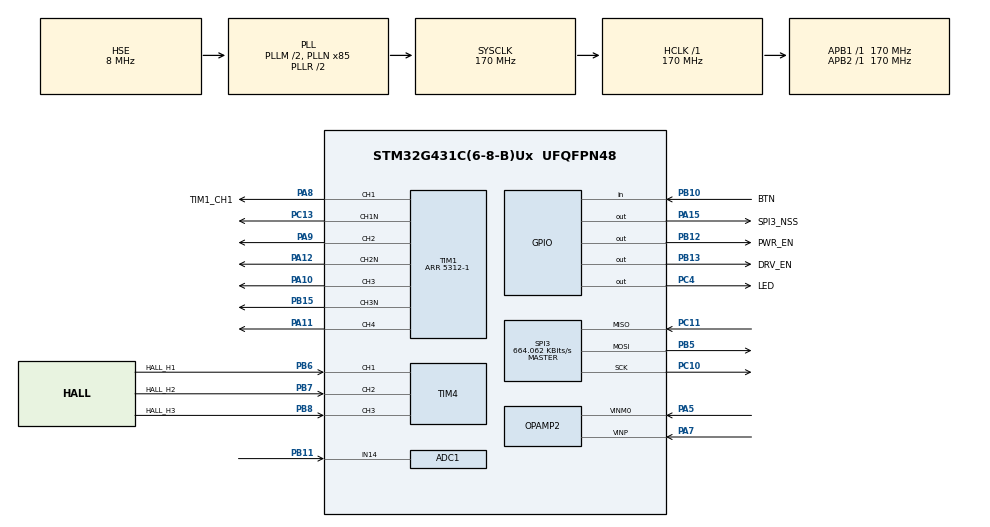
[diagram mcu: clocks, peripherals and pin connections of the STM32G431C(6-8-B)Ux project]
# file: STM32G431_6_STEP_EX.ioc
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ADC1.Channel-0\#ChannelRegularConversion=ADC_CHANNEL_14
ADC1.ContinuousConvMode=DISABLE
ADC1.EOCSelection=ADC_EOC_SEQ_CONV
ADC1.NbrOfConversion=1
ADC1.NbrOfConversionFlag=1
ADC1.OffsetNumber-0\#ChannelRegularConversion=ADC_OFFSET_NONE
ADC1.OversamplingMode=ENABLE
ADC1.Rank-0\#ChannelRegularConversion=1
ADC1.Ratio=ADC_OVERSAMPLING_RATIO_16
ADC1.RightBitShift=ADC_RIGHTBITSHIFT_4
ADC1.SamplingTime-0\#ChannelRegularConversion=ADC_SAMPLETIME_47CYCLES_5
ADC1.master=1
ADC2.EOCSelection=ADC_EOC_SEQ_CONV
ADC2.EnableInjectedConversion=ENABLE
ADC2.EnableRegularConversion=DISABLE
ADC2.ExternalTrigInjecConv=ADC_EXTERNALTRIGINJEC_T1_CC4
ADC2.InjNumberOfConversion=1
ADC2.InjectedChannel-9\#ChannelInjectedConversion=ADC_CHANNEL_VOPAMP2
ADC2.InjectedOffsetNumber-9\#ChannelInjectedConversion=ADC_OFFSET_NONE
ADC2.InjectedRank-9\#ChannelInjectedConversion=1
ADC2.InjectedSamplingTime-9\#ChannelInjectedConversion=ADC_SAMPLETIME_2CYCLES_5
ADC2.OversamplingMode=DISABLE
ADC2.Rank1_Channel=ADC_CHANNEL_VOPAMP2
Mcu.Family=STM32G4
Mcu.Name=STM32G431C(6-8-B)Ux
Mcu.Package=UFQFPN48
NVIC.PriorityGroup=NVIC_PRIORITYGROUP_4
NVIC.TIM1_BRK_TIM15_IRQn=true\:0\:0\:true\:false\:true\:true\:true\:true
NVIC.TIM1_CC_IRQn=true\:0\:0\:true\:false\:true\:true\:true\:true
NVIC.TIM4_IRQn=true\:1\:0\:true\:false\:true\:true\:true\:true
NVIC.TIM7_IRQn=true\:2\:0\:true\:false\:true\:true\:true\:true
OPAMP2.PgaGain=OPAMP_PGA_GAIN_8_OR_MINUS_7
PA10.GPIO_PuPd=GPIO_PULLDOWN
PA10.Signal=S_TIM1_CH3
PA11.Signal=S_TIM1_CH4
PA12.GPIO_PuPd=GPIO_PULLDOWN
PA12.Mode=PWM Generation2 CH2 CH2N
PA12.Signal=TIM1_CH2N
PA13.Mode=Serial_Wire
PA13.Signal=SYS_JTMS-SWDIO
PA14.Mode=Serial_Wire
PA14.Signal=SYS_JTCK-SWCLK
PA15.GPIO_Label=SPI3_NSS
PA15.Signal=GPIO_Output
PA5.Mode=PGA Internally connected_IO0_BIAS
PA5.Signal=OPAMP2_VINM0
PA7.Signal=SharedAnalog_PA7
PA8.GPIO_Label=TIM1_CH1
PA8.GPIO_PuPd=GPIO_PULLDOWN
PA8.Signal=S_TIM1_CH1
PA9.GPIO_PuPd=GPIO_PULLDOWN
PA9.Signal=S_TIM1_CH2
PB10.GPIO_Label=BTN
PB10.GPIO_PuPd=GPIO_PULLUP
PB10.Signal=GPIO_Input
PB11.Mode=IN14-Single-Ended
PB11.Signal=ADC1_IN14
PB12.GPIO_Label=PWR_EN
PB12.PinState=GPIO_PIN_SET
PB12.Signal=GPIO_Output
PB13.GPIO_Label=DRV_EN
PB13.Signal=GPIO_Output
PB15.GPIO_PuPd=GPIO_PULLDOWN
PB15.Mode=PWM Generation3 CH3 CH3N
PB15.Signal=TIM1_CH3N
PB5.Mode=Full_Duplex_Master
PB5.Signal=SPI3_MOSI
PB6.GPIO_Label=HALL_H1
PB6.Signal=S_TIM4_CH1
PB7.GPIO_Label=HALL_H2
PB7.Signal=S_TIM4_CH2
PB8-BOOT0.GPIO_Label=HALL_H3
PB8-BOOT0.Signal=S_TIM4_CH3
PC10.Mode=Full_Duplex_Master
PC10.Signal=SPI3_SCK
PC11.Mode=Full_Duplex_Master
PC11.Signal=SPI3_MISO
PC13.GPIO_PuPd=GPIO_PULLDOWN
PC13.Mode=PWM Generation1 CH1 CH1N
PC13.Signal=TIM1_CH1N
PC4.GPIO_Label=LED
PC4.Signal=GPIO_Output
PF0-OSC_IN.Mode=HSE-External-Oscillator
PF0-OSC_IN.Signal=RCC_OSC_IN
PF1-OSC_OUT.Mode=HSE-External-Oscillator
PF1-OSC_OUT.Signal=RCC_OSC_OUT
ProjectManager.HeapSize=0x200
ProjectManager.StackSize=0x400
ProjectManager.TargetToolchain=STM32CubeIDE
RCC.ADC12Freq_Value=170000000
RCC.AHBFreq_Value=170000000
RCC.APB1Freq_Value=170000000
RCC.APB1TimFreq_Value=170000000
RCC.APB2Freq_Value=170000000
RCC.APB2TimFreq_Value=170000000
RCC.CortexFreq_Value=170000000
RCC.EXTERNAL_CLOCK_VALUE=12288000
RCC.HCLKFreq_Value=170000000
RCC.HSE_VALUE=8000000
RCC.HSI48_VALUE=48000000
RCC.HSI_VALUE=16000000
RCC.LSE_VALUE=32768
RCC.PLLM=RCC_PLLM_DIV2
RCC.PLLN=85
RCC.PLLSourceVirtual=RCC_PLLSOURCE_HSE
RCC.SYSCLKFreq_VALUE=170000000
RCC.SYSCLKSource=RCC_SYSCLKSOURCE_PLLCLK
RCC.USBFreq_Value=170000000
RCC.VCOOutputFreq_Value=340000000
SH.S_TIM1_CH1.0=TIM1_CH1,PWM Generation1 CH1 CH1N
SH.S_TIM1_CH2.0=TIM1_CH2,PWM Generation2 CH2 CH2N
SH.S_TIM1_CH3.0=TIM1_CH3,PWM Generation3 CH3 CH3N
SH.S_TIM1_CH4.0=TIM1_CH4,PWM Generation4 CH4
SH.S_TIM4_CH1.0=TIM4_CH1,Xored_Inputs_Hall_Sensor_Interface
SH.S_TIM4_CH2.0=TIM4_CH2,Xored_Inputs_Hall_Sensor_Interface
SH.S_TIM4_CH3.0=TIM4_CH3,Xored_Inputs_Hall_Sensor_Interface
SH.SharedAnalog_PA7.0=COMP2_INP
SH.SharedAnalog_PA7.1=OPAMP2_VINP,PGA Internally connected_IO0_BIAS
SPI3.BaudRatePrescaler=SPI_BAUDRATEPRESCALER_256
SPI3.CLKPhase=SPI_PHASE_2EDGE
SPI3.CalculateBaudRate=664.062 KBits/s
SPI3.DataSize=SPI_DATASIZE_16BIT
SPI3.Direction=SPI_DIRECTION_2LINES
SPI3.Mode=SPI_MODE_MASTER
SPI3.VirtualType=VM_MASTER
TIM1.AutoReloadPreload=TIM_AUTORELOAD_PRELOAD_DISABLE
TIM1.AutomaticOutput=TIM_AUTOMATICOUTPUT_DISABLE
TIM1.BreakFilter=15
TIM1.BreakState=TIM_BREAK_DISABLE
TIM1.Channel-PWM\ Generation1\ CH1\ CH1N=TIM_CHANNEL_1
TIM1.Channel-PWM\ Generation2\ CH2\ CH2N=TIM_CHANNEL_2
TIM1.Channel-PWM\ Generation3\ CH3\ CH3N=TIM_CHANNEL_3
TIM1.Channel-PWM\ Generation4\ CH4=TIM_CHANNEL_4
TIM1.ClockDivision=TIM_CLOCKDIVISION_DIV1
TIM1.CounterMode=TIM_COUNTERMODE_CENTERALIGNED1
TIM1.DeadTime=100
TIM1.OCIdleState_4=TIM_OCIDLESTATE_RESET
TIM1.OCMode_PWM-PWM\ Generation1\ CH1\ CH1N=TIM_OCMODE_PWM1
TIM1.OCMode_PWM-PWM\ Generation2\ CH2\ CH2N=TIM_OCMODE_PWM1
TIM1.OCMode_PWM-PWM\ Generation3\ CH3\ CH3N=TIM_OCMODE_PWM1
TIM1.OCMode_PWM-PWM\ Generation4\ CH4=TIM_OCMODE_PWM2
TIM1.OCPolarity_4=TIM_OCPOLARITY_HIGH
TIM1.OffStateIDLEMode=TIM_OSSI_DISABLE
TIM1.OffStateRunMode=TIM_OSSR_DISABLE
TIM1.PeriodNoDither=5312-1
TIM1.RepetitionCounter=0
TIM1.SourceBRKCOMP2=TIM_BREAKINPUTSOURCE_DISABLE
TIM1.TIM_MasterOutputTrigger=TIM_TRGO_OC4REF
TIM1.TIM_MasterOutputTrigger2=TIM_TRGO2_RESET
TIM1.TIM_MasterSlaveMode=TIM_MASTERSLAVEMODE_DISABLE
TIM4.IC1Filter=15
TIM4.TIM_MasterOutputTrigger=TIM_TRGO_OC2REF
TIM7.PeriodNoDither=10000
TIM7.Prescaler=16
VP_ADC2_OPAMP_INTERNAL2.Mode=IN-OPAMP2
VP_SYS_VS_DBSignals.Mode=DisableDeadBatterySignals
VP_TIM1_VS_ClockSourceINT.Mode=Internal
VP_TIM4_VS_ClockSourceINT.Mode=Internal
VP_TIM7_VS_ClockSourceINT.Mode=Enable_Timer
board=custom

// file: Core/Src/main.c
/* USER CODE BEGIN Header */
/**
  ******************************************************************************
  * @file           : main.c
  * @brief          : Main program body
  ******************************************************************************
  * @attention
  *
  * Copyright (c) 2024 STMicroelectronics.
  * All rights reserved.
  *
  * This software is licensed under terms that can be found in the LICENSE file
  * in the root directory of this software component.
  * If no LICENSE file comes with this software, it is provided AS-IS.
  *
  ******************************************************************************
  */
/* USER CODE END Header */
#include "main.h"

/* USER CODE BEGIN Includes */

#include "MC_SixStep.h"
#include "stdlib.h"
#include "stdint.h"
#include "stdbool.h"

/* USER CODE END Includes */

/* USER CODE BEGIN PD */

#define PHASE_SHIFT_USER (int16_t)(0)
#define VOLTAGE_TO_CURRENT_COEF 7333 / 2048
#define TIM1_PWM_PERIOD 5311
#define CURRENT_SET_COEF 7333 / 32768
#define SPEED_SET_COEF 1200 / 32768

#define P_COEF_CURRENT 100000
#define I_COEF_CURRENT 100

#define P_COEF_SPEED 16000 / 4096
#define I_COEF_SPEED 200 / 4096

#define PI_TO_PHASE_VOLTAGE_COEF TIM1_PWM_PERIOD / 32768

/* USER CODE END PD */

ADC_HandleTypeDef hadc1;
ADC_HandleTypeDef hadc2;

OPAMP_HandleTypeDef hopamp2;

SPI_HandleTypeDef hspi3;

TIM_HandleTypeDef htim1;
TIM_HandleTypeDef htim4;
TIM_HandleTypeDef htim7;

/* USER CODE BEGIN PV */

uint16_t ADC_DATA_1 = 0;
uint16_t ADC_DATA_2 = 0;
int16_t SetCurrent = 0;
int16_t SetSpeed = 0;

volatile uint32_t CountHallTime = 0;
uint16_t ms_count = 0;

bool NextStep_flag = true;
bool CountHallReadyFlag = false;
bool HallSwitchFlag = false;

int32_t PI_Kp_Out_Current = 0;
int32_t PI_Ip_Out_Current = 0;
int32_t PI_Error_Current = 0;
int32_t I_Accum = 0;
int32_t PI_Out_Current = 0;

int32_t PI_Kp_Out_Speed = 0;
int32_t PI_Ip_Out_Speed = 0;
int32_t PI_Error_Speed = 0;
int32_t Sp_Accum = 0;
int32_t PI_Out_Speed = 0;

uint16_t PhaseVoltageSet = 0;

MC_SixStep_t MC_SixStep_M1 = {
		.CntPh = 0,
		.StartCntPh = 0,
		.ADCTriggerCnt = 0,
		.PWMperiod = TIM1_PWM_PERIOD,
		.ADCShuntOffset = 0,
		.MeasuredCurrent = 0,
		.MeasuredCurrentFiltr = 0,
		.Direction = 0,
		.MeasuredElAngle = 0,
		.PhaseShift = PHASE_SHIFT_USER,
		.HallState = 0,
		.PrevHallState = 0,
		.AlignFlag = 0,
		.NextStep = 0,
		.Step = 0,
		.hElAngle = 0,
		.SpeedCnt = 0,
		.SpeedCntFiltr = 0,
};

/* USER CODE END PV */

void SystemClock_Config(void);
static void MX_GPIO_Init(void);
static void MX_TIM1_Init(void);
static void MX_TIM4_Init(void);
static void MX_SPI3_Init(void);
static void MX_ADC2_Init(void);
static void MX_OPAMP2_Init(void);
static void MX_ADC1_Init(void);
static void MX_TIM7_Init(void);

/* USER CODE BEGIN 0 */
void HAL_TIM_OC_DelayElapsedCallback(TIM_HandleTypeDef *htim) {
	if(htim->Instance == TIM1) {

		PI_Error_Current = SetCurrent - MC_SixStep_M1.MeasuredCurrentFiltr;

		PI_Kp_Out_Current = (PI_Error_Current * P_COEF_CURRENT) >> 16;

		CountHallTime++;
/*
		I_Accum += PI_Error_Current * I_COEF_CURRENT;
		if (I_Accum > 32767 << 16){
			I_Accum = 32767 << 16;
		}
		else if (I_Accum < -32768 << 16){
			I_Accum = -32768 << 16;
		}
		PI_Out_Current = PI_Kp_Out_Current;
*/
/*
		if (MC_SixStep_M1.SpeedCntFiltr > 0) {
			pHandle->MeasuredElAngle += S16_90_PHASE_SHIFT;
		}
		else {
			pHandle->MeasuredElAngle += S16_90_PHASE_SHIFT;
		}
*/
		PI_Out_Current = PI_Kp_Out_Current;
//		PhaseVoltageSet = PI_Out_Current * PI_TO_PHASE_VOLTAGE_COEF;
		PhaseVoltageSet = abs(PI_Out_Speed) * PI_TO_PHASE_VOLTAGE_COEF;

		if (PhaseVoltageSet > TIM1_PWM_PERIOD) {
			PhaseVoltageSet = TIM1_PWM_PERIOD;
		}

		if (SetCurrent > 0) {
			MC_SixStep_SetPhaseVoltage(&MC_SixStep_M1, PhaseVoltageSet);
		}
		if (NextStep_flag == true) {
			MC_SixStep_SetNextStep(&MC_SixStep_M1);
			NextStep_flag = false;
		}
    }
}

void HAL_ADCEx_InjectedConvCpltCallback(ADC_HandleTypeDef* hadc) {
//	GPIOC->BSRR |= 1<<4; // Set
//	GPIOC->BRR |= 1<<4; //Reset
    if(hadc->Instance == ADC2) {
    	ADC_DATA_2 = HAL_ADCEx_InjectedGetValue(&hadc2, ADC_INJECTED_RANK_1);
		MC_SixStep_M1.MeasuredCurrent = (ADC_DATA_2 - MC_SixStep_M1.ADCShuntOffset) * VOLTAGE_TO_CURRENT_COEF;
		MC_SixStep_M1.MeasuredCurrentFiltr = (MC_SixStep_M1.MeasuredCurrent*32768L*5/100 + MC_SixStep_M1.MeasuredCurrentFiltr*32768L*95/100)/32768;
    }
}

void HAL_TIM_PeriodElapsedCallback(TIM_HandleTypeDef *htim) {
	if(htim->Instance == TIM1) {
//		GPIOC->BSRR |= 1<<4; // Set
//		GPIOC->BRR |= 1<<4; //Reset
    }
	if(htim->Instance == TIM7) {
//		ms_count++;
//		GPIOC->BSRR |= 1<<4; // Set
//		GPIOC->BRR |= 1<<4; //Reset

		uint16_t Accel = SetPointCalc(&MC_SixStep_M1, ADC_DATA_1);
		SetCurrent =  Accel * CURRENT_SET_COEF;
		SetSpeed =  Accel * SPEED_SET_COEF;

		PI_Error_Speed = SetSpeed - MC_SixStep_M1.SpeedCntFiltr;

		PI_Kp_Out_Speed = PI_Error_Speed * P_COEF_SPEED;
		PI_Ip_Out_Speed += PI_Error_Speed * I_COEF_SPEED;
		if (PI_Ip_Out_Speed > 32767) {
			PI_Ip_Out_Speed = 32767;
		}
		else if (PI_Ip_Out_Speed < -32768) {
			PI_Ip_Out_Speed = -32768;
		}
		if (Accel == 0) {
			PI_Ip_Out_Speed = 0;
		}
		PI_Out_Speed = PI_Kp_Out_Speed + PI_Ip_Out_Speed;
		if (PI_Out_Speed > 0) {
			MC_SixStep_M1.Direction = 1;
		}
		else if (PI_Out_Speed < 0) {
			MC_SixStep_M1.Direction =-1;
		}

		if (HallSwitchFlag == true) {
			HallSwitchFlag = false;
			MC_SixStep_M1.SpeedCntFiltr = Moving_Average_Simple(MC_SixStep_M1.SpeedCnt);
		}
		else if (HallSwitchFlag == false && CountHallTime > 2048) {
			MC_SixStep_M1.SpeedCnt = 0;
			MC_SixStep_M1.SpeedCntFiltr = Moving_Average_Simple(MC_SixStep_M1.SpeedCnt);
		}
    }
}

void HAL_TIM_IC_CaptureCallback(TIM_HandleTypeDef *htim) {
	if(htim->Instance == TIM4) {
		PI_Kp_Out_Current = (PI_Error_Current * P_COEF_CURRENT) >> 16;
		PI_Out_Current = PI_Kp_Out_Current;

		PhaseVoltageSet = PI_Out_Current * PI_TO_PHASE_VOLTAGE_COEF;
		if (PhaseVoltageSet > TIM1_PWM_PERIOD) {
			PhaseVoltageSet = TIM1_PWM_PERIOD;
		}

		MC_SixStep_AngleCalc(&MC_SixStep_M1);
		NextStep_flag = MC_SixStep_ElAngleToStep(&MC_SixStep_M1);

		if (MC_SixStep_M1.Direction == 1) {
			MC_SixStep_M1.SpeedCnt = 65536 / CountHallTime;
		}
		else if (MC_SixStep_M1.Direction == -1) {
			MC_SixStep_M1.SpeedCnt = -(65536 / CountHallTime);
		}
		CountHallTime = 0;
		HallSwitchFlag = true;
	}
}

/* USER CODE END 0 */

int main(void)
{

  /* MCU Configuration--------------------------------------------------------*/

  /* Reset of all peripherals, Initializes the Flash interface and the Systick. */
  HAL_Init();

  /* Configure the system clock */
  SystemClock_Config();

  /* Initialize all configured peripherals */
  MX_GPIO_Init();
  MX_TIM1_Init();
  MX_TIM4_Init();
  MX_SPI3_Init();
  MX_ADC2_Init();
  MX_OPAMP2_Init();
  MX_ADC1_Init();
  MX_TIM7_Init();
  /* USER CODE BEGIN 2 */

  HAL_GPIO_WritePin(DRV_EN_GPIO_Port, DRV_EN_Pin, GPIO_PIN_SET);

  DRV8303_Unit();

  TIM1->CCR1 = 0;
  TIM1->CCR2 = 0;
  TIM1->CCR3 = 0;
//  TIM1->CCR4 = MC_SixStep_M1.PWMperiod / 2;
  TIM1->CCR4 = 1;

  MC_SixStep_M1.HallState = (((GPIOB->IDR & GPIO_IDR_IDR_6) >> 6) << 2) | (((GPIOB->IDR & GPIO_IDR_IDR_7) >> 7) << 1) | ((GPIOB->IDR & GPIO_IDR_IDR_8) >> 8);
  MC_SixStep_AngleCalc(&MC_SixStep_M1);
  MC_SixStep_ElAngleToStep(&MC_SixStep_M1);
  MC_SixStep_SetNextStep(&MC_SixStep_M1);

  HAL_TIMEx_HallSensor_Start_IT(&htim4);
  HAL_TIM_PWM_Start(&htim1, TIM_CHANNEL_1);
  HAL_TIMEx_PWMN_Start(&htim1, TIM_CHANNEL_1);
  HAL_TIM_PWM_Start(&htim1, TIM_CHANNEL_2);
  HAL_TIMEx_PWMN_Start(&htim1, TIM_CHANNEL_2);
  HAL_TIM_PWM_Start(&htim1, TIM_CHANNEL_3);
  HAL_TIMEx_PWMN_Start(&htim1, TIM_CHANNEL_3);

  HAL_OPAMP_Start(&hopamp2);
/* ADC offset calc */
  HAL_ADCEx_InjectedStart(&hadc2);
  HAL_ADC_PollForConversion(&hadc2, 10);
  ADC_DATA_2 = HAL_ADCEx_InjectedGetValue(&hadc2, ADC_INJECTED_RANK_1);
  MC_SixStep_M1.ADCShuntOffset = ADC_DATA_2;
  HAL_ADCEx_InjectedStop(&hadc2);
/* ************************ */

  __HAL_TIM_ENABLE_IT(&htim1, TIM_IT_CC4);
  __HAL_TIM_ENABLE_IT(&htim1, TIM_IT_UPDATE);

  /*
  	Bit 0 CCPC: Capture/compare preloaded control
  	0:CCxE, CCxNE and OCxM bits are not preloaded
  	1:CCxE, CCxNE and OCxM bits are preloaded, after having been written, they are updated
  	only when a commutation event (COM) occurs (COMG bit set or rising edge detected on
  	tim_trgi, depending on the CCUS bit).
  */
  	TIM1->CR2 |= (uint16_t) TIM_CR2_CCPC;

// 	HAL_ADC_Start_IT(&hadc2);
  	HAL_ADCEx_InjectedStart_IT(&hadc2);

  	HAL_TIM_Base_Start_IT(&htim7);
  /* USER CODE END 2 */

  /* Infinite loop */
  /* USER CODE BEGIN WHILE */
  while (1)
  {
	  //HAL_GPIO_TogglePin(LED_GPIO_Port, LED_Pin);

	  HAL_ADC_Start(&hadc1);
	  HAL_ADC_PollForConversion(&hadc1, 10);
	  ADC_DATA_1 = HAL_ADC_GetValue(&hadc1);
	  HAL_Delay(1);
	  //count++;
	  // MC_SixStep_M1.NextStep = count % 6 + 1;
    /* USER CODE END WHILE */

  }
}

void SystemClock_Config(void)
{
  RCC_OscInitTypeDef RCC_OscInitStruct = {0};
  RCC_ClkInitTypeDef RCC_ClkInitStruct = {0};

  /** Configure the main internal regulator output voltage
  */
  HAL_PWREx_ControlVoltageScaling(PWR_REGULATOR_VOLTAGE_SCALE1_BOOST);

  /** Initializes the RCC Oscillators according to the specified parameters
  * in the RCC_OscInitTypeDef structure.
  */
  RCC_OscInitStruct.OscillatorType = RCC_OSCILLATORTYPE_HSE;
  RCC_OscInitStruct.HSEState = RCC_HSE_ON;
  RCC_OscInitStruct.PLL.PLLState = RCC_PLL_ON;
  RCC_OscInitStruct.PLL.PLLSource = RCC_PLLSOURCE_HSE;
  RCC_OscInitStruct.PLL.PLLM = RCC_PLLM_DIV2;
  RCC_OscInitStruct.PLL.PLLN = 85;
  RCC_OscInitStruct.PLL.PLLP = RCC_PLLP_DIV2;
  RCC_OscInitStruct.PLL.PLLQ = RCC_PLLQ_DIV2;
  RCC_OscInitStruct.PLL.PLLR = RCC_PLLR_DIV2;
  if (HAL_RCC_OscConfig(&RCC_OscInitStruct) != HAL_OK)
  {
    Error_Handler();
  }

  /** Initializes the CPU, AHB and APB buses clocks
  */
  RCC_ClkInitStruct.ClockType = RCC_CLOCKTYPE_HCLK|RCC_CLOCKTYPE_SYSCLK
                              |RCC_CLOCKTYPE_PCLK1|RCC_CLOCKTYPE_PCLK2;
  RCC_ClkInitStruct.SYSCLKSource = RCC_SYSCLKSOURCE_PLLCLK;
  RCC_ClkInitStruct.AHBCLKDivider = RCC_SYSCLK_DIV1;
  RCC_ClkInitStruct.APB1CLKDivider = RCC_HCLK_DIV1;
  RCC_ClkInitStruct.APB2CLKDivider = RCC_HCLK_DIV1;

  if (HAL_RCC_ClockConfig(&RCC_ClkInitStruct, FLASH_LATENCY_4) != HAL_OK)
  {
    Error_Handler();
  }
}

static void MX_ADC1_Init(void)
{

  ADC_MultiModeTypeDef multimode = {0};
  ADC_ChannelConfTypeDef sConfig = {0};

  /** Common config
  */
  hadc1.Instance = ADC1;
  hadc1.Init.ClockPrescaler = ADC_CLOCK_SYNC_PCLK_DIV4;
  hadc1.Init.Resolution = ADC_RESOLUTION_12B;
  hadc1.Init.DataAlign = ADC_DATAALIGN_RIGHT;
  hadc1.Init.GainCompensation = 0;
  hadc1.Init.ScanConvMode = ADC_SCAN_DISABLE;
  hadc1.Init.EOCSelection = ADC_EOC_SEQ_CONV;
  hadc1.Init.LowPowerAutoWait = DISABLE;
  hadc1.Init.ContinuousConvMode = DISABLE;
  hadc1.Init.NbrOfConversion = 1;
  hadc1.Init.DiscontinuousConvMode = DISABLE;
  hadc1.Init.ExternalTrigConv = ADC_SOFTWARE_START;
  hadc1.Init.ExternalTrigConvEdge = ADC_EXTERNALTRIGCONVEDGE_NONE;
  hadc1.Init.DMAContinuousRequests = DISABLE;
  hadc1.Init.Overrun = ADC_OVR_DATA_PRESERVED;
  hadc1.Init.OversamplingMode = ENABLE;
  hadc1.Init.Oversampling.Ratio = ADC_OVERSAMPLING_RATIO_16;
  hadc1.Init.Oversampling.RightBitShift = ADC_RIGHTBITSHIFT_4;
  hadc1.Init.Oversampling.TriggeredMode = ADC_TRIGGEREDMODE_SINGLE_TRIGGER;
  hadc1.Init.Oversampling.OversamplingStopReset = ADC_REGOVERSAMPLING_CONTINUED_MODE;
  if (HAL_ADC_Init(&hadc1) != HAL_OK)
  {
    Error_Handler();
  }

  /** Configure the ADC multi-mode
  */
  multimode.Mode = ADC_MODE_INDEPENDENT;
  if (HAL_ADCEx_MultiModeConfigChannel(&hadc1, &multimode) != HAL_OK)
  {
    Error_Handler();
  }

  /** Configure Regular Channel
  */
  sConfig.Channel = ADC_CHANNEL_14;
  sConfig.Rank = ADC_REGULAR_RANK_1;
  sConfig.SamplingTime = ADC_SAMPLETIME_47CYCLES_5;
  sConfig.SingleDiff = ADC_SINGLE_ENDED;
  sConfig.OffsetNumber = ADC_OFFSET_NONE;
  sConfig.Offset = 0;
  if (HAL_ADC_ConfigChannel(&hadc1, &sConfig) != HAL_OK)
  {
    Error_Handler();
  }

}

static void MX_ADC2_Init(void)
{

  ADC_InjectionConfTypeDef sConfigInjected = {0};

  /** Common config
  */
  hadc2.Instance = ADC2;
  hadc2.Init.ClockPrescaler = ADC_CLOCK_SYNC_PCLK_DIV4;
  hadc2.Init.Resolution = ADC_RESOLUTION_12B;
  hadc2.Init.DataAlign = ADC_DATAALIGN_RIGHT;
  hadc2.Init.GainCompensation = 0;
  hadc2.Init.ScanConvMode = ADC_SCAN_DISABLE;
  hadc2.Init.EOCSelection = ADC_EOC_SEQ_CONV;
  hadc2.Init.LowPowerAutoWait = DISABLE;
  hadc2.Init.ContinuousConvMode = DISABLE;
  hadc2.Init.NbrOfConversion = 1;
  hadc2.Init.DiscontinuousConvMode = DISABLE;
  hadc2.Init.DMAContinuousRequests = DISABLE;
  hadc2.Init.Overrun = ADC_OVR_DATA_PRESERVED;
  hadc2.Init.OversamplingMode = DISABLE;
  if (HAL_ADC_Init(&hadc2) != HAL_OK)
  {
    Error_Handler();
  }

  /** Configure Injected Channel
  */
  sConfigInjected.InjectedChannel = ADC_CHANNEL_VOPAMP2;
  sConfigInjected.InjectedRank = ADC_INJECTED_RANK_1;
  sConfigInjected.InjectedSamplingTime = ADC_SAMPLETIME_2CYCLES_5;
  sConfigInjected.InjectedSingleDiff = ADC_SINGLE_ENDED;
  sConfigInjected.InjectedOffsetNumber = ADC_OFFSET_NONE;
  sConfigInjected.InjectedOffset = 0;
  sConfigInjected.InjectedNbrOfConversion = 1;
  sConfigInjected.InjectedDiscontinuousConvMode = DISABLE;
  sConfigInjected.AutoInjectedConv = DISABLE;
  sConfigInjected.QueueInjectedContext = DISABLE;
  sConfigInjected.ExternalTrigInjecConv = ADC_EXTERNALTRIGINJEC_T1_CC4;
  sConfigInjected.ExternalTrigInjecConvEdge = ADC_EXTERNALTRIGINJECCONV_EDGE_RISING;
  sConfigInjected.InjecOversamplingMode = DISABLE;
  if (HAL_ADCEx_InjectedConfigChannel(&hadc2, &sConfigInjected) != HAL_OK)
  {
    Error_Handler();
  }

}

static void MX_OPAMP2_Init(void)
{

  hopamp2.Instance = OPAMP2;
  hopamp2.Init.PowerMode = OPAMP_POWERMODE_NORMALSPEED;
  hopamp2.Init.Mode = OPAMP_PGA_MODE;
  hopamp2.Init.NonInvertingInput = OPAMP_NONINVERTINGINPUT_IO0;
  hopamp2.Init.InternalOutput = ENABLE;
  hopamp2.Init.TimerControlledMuxmode = OPAMP_TIMERCONTROLLEDMUXMODE_DISABLE;
  hopamp2.Init.PgaConnect = OPAMP_PGA_CONNECT_INVERTINGINPUT_IO0_BIAS;
  hopamp2.Init.PgaGain = OPAMP_PGA_GAIN_8_OR_MINUS_7;
  hopamp2.Init.UserTrimming = OPAMP_TRIMMING_FACTORY;
  if (HAL_OPAMP_Init(&hopamp2) != HAL_OK)
  {
    Error_Handler();
  }

}

static void MX_SPI3_Init(void)
{

  /* SPI3 parameter configuration*/
  hspi3.Instance = SPI3;
  hspi3.Init.Mode = SPI_MODE_MASTER;
  hspi3.Init.Direction = SPI_DIRECTION_2LINES;
  hspi3.Init.DataSize = SPI_DATASIZE_16BIT;
  hspi3.Init.CLKPolarity = SPI_POLARITY_LOW;
  hspi3.Init.CLKPhase = SPI_PHASE_2EDGE;
  hspi3.Init.NSS = SPI_NSS_SOFT;
  hspi3.Init.BaudRatePrescaler = SPI_BAUDRATEPRESCALER_256;
  hspi3.Init.FirstBit = SPI_FIRSTBIT_MSB;
  hspi3.Init.TIMode = SPI_TIMODE_DISABLE;
  hspi3.Init.CRCCalculation = SPI_CRCCALCULATION_DISABLE;
  hspi3.Init.CRCPolynomial = 7;
  hspi3.Init.CRCLength = SPI_CRC_LENGTH_DATASIZE;
  hspi3.Init.NSSPMode = SPI_NSS_PULSE_DISABLE;
  if (HAL_SPI_Init(&hspi3) != HAL_OK)
  {
    Error_Handler();
  }

}

static void MX_TIM1_Init(void)
{

  TIM_ClockConfigTypeDef sClockSourceConfig = {0};
  TIM_MasterConfigTypeDef sMasterConfig = {0};
  TIM_OC_InitTypeDef sConfigOC = {0};
  TIM_BreakDeadTimeConfigTypeDef sBreakDeadTimeConfig = {0};

  htim1.Instance = TIM1;
  htim1.Init.Prescaler = 0;
  htim1.Init.CounterMode = TIM_COUNTERMODE_CENTERALIGNED1;
  htim1.Init.Period = 5311;
  htim1.Init.ClockDivision = TIM_CLOCKDIVISION_DIV1;
  htim1.Init.RepetitionCounter = 0;
  htim1.Init.AutoReloadPreload = TIM_AUTORELOAD_PRELOAD_DISABLE;
  if (HAL_TIM_Base_Init(&htim1) != HAL_OK)
  {
    Error_Handler();
  }
  sClockSourceConfig.ClockSource = TIM_CLOCKSOURCE_INTERNAL;
  if (HAL_TIM_ConfigClockSource(&htim1, &sClockSourceConfig) != HAL_OK)
  {
    Error_Handler();
  }
  if (HAL_TIM_PWM_Init(&htim1) != HAL_OK)
  {
    Error_Handler();
  }
  sMasterConfig.MasterOutputTrigger = TIM_TRGO_OC4REF;
  sMasterConfig.MasterOutputTrigger2 = TIM_TRGO2_RESET;
  sMasterConfig.MasterSlaveMode = TIM_MASTERSLAVEMODE_DISABLE;
  if (HAL_TIMEx_MasterConfigSynchronization(&htim1, &sMasterConfig) != HAL_OK)
  {
    Error_Handler();
  }
  sConfigOC.OCMode = TIM_OCMODE_PWM1;
  sConfigOC.Pulse = 0;
  sConfigOC.OCPolarity = TIM_OCPOLARITY_HIGH;
  sConfigOC.OCNPolarity = TIM_OCNPOLARITY_HIGH;
  sConfigOC.OCFastMode = TIM_OCFAST_DISABLE;
  sConfigOC.OCIdleState = TIM_OCIDLESTATE_RESET;
  sConfigOC.OCNIdleState = TIM_OCNIDLESTATE_RESET;
  if (HAL_TIM_PWM_ConfigChannel(&htim1, &sConfigOC, TIM_CHANNEL_1) != HAL_OK)
  {
    Error_Handler();
  }
  if (HAL_TIM_PWM_ConfigChannel(&htim1, &sConfigOC, TIM_CHANNEL_2) != HAL_OK)
  {
    Error_Handler();
  }
  if (HAL_TIM_PWM_ConfigChannel(&htim1, &sConfigOC, TIM_CHANNEL_3) != HAL_OK)
  {
    Error_Handler();
  }
  sConfigOC.OCMode = TIM_OCMODE_PWM2;
  if (HAL_TIM_PWM_ConfigChannel(&htim1, &sConfigOC, TIM_CHANNEL_4) != HAL_OK)
  {
    Error_Handler();
  }
  sBreakDeadTimeConfig.OffStateRunMode = TIM_OSSR_DISABLE;
  sBreakDeadTimeConfig.OffStateIDLEMode = TIM_OSSI_DISABLE;
  sBreakDeadTimeConfig.LockLevel = TIM_LOCKLEVEL_OFF;
  sBreakDeadTimeConfig.DeadTime = 100;
  sBreakDeadTimeConfig.BreakState = TIM_BREAK_DISABLE;
  sBreakDeadTimeConfig.BreakPolarity = TIM_BREAKPOLARITY_HIGH;
  sBreakDeadTimeConfig.BreakFilter = 15;
  sBreakDeadTimeConfig.BreakAFMode = TIM_BREAK_AFMODE_INPUT;
  sBreakDeadTimeConfig.Break2State = TIM_BREAK2_DISABLE;
  sBreakDeadTimeConfig.Break2Polarity = TIM_BREAK2POLARITY_HIGH;
  sBreakDeadTimeConfig.Break2Filter = 0;
  sBreakDeadTimeConfig.Break2AFMode = TIM_BREAK_AFMODE_INPUT;
  sBreakDeadTimeConfig.AutomaticOutput = TIM_AUTOMATICOUTPUT_DISABLE;
  if (HAL_TIMEx_ConfigBreakDeadTime(&htim1, &sBreakDeadTimeConfig) != HAL_OK)
  {
    Error_Handler();
  }
  HAL_TIM_MspPostInit(&htim1);

}

static void MX_TIM4_Init(void)
{

  TIM_ClockConfigTypeDef sClockSourceConfig = {0};
  TIM_HallSensor_InitTypeDef sConfig = {0};
  TIM_MasterConfigTypeDef sMasterConfig = {0};

  htim4.Instance = TIM4;
  htim4.Init.Prescaler = 0;
  htim4.Init.CounterMode = TIM_COUNTERMODE_UP;
  htim4.Init.Period = 65535;
  htim4.Init.ClockDivision = TIM_CLOCKDIVISION_DIV1;
  htim4.Init.AutoReloadPreload = TIM_AUTORELOAD_PRELOAD_DISABLE;
  if (HAL_TIM_Base_Init(&htim4) != HAL_OK)
  {
    Error_Handler();
  }
  sClockSourceConfig.ClockSource = TIM_CLOCKSOURCE_INTERNAL;
  if (HAL_TIM_ConfigClockSource(&htim4, &sClockSourceConfig) != HAL_OK)
  {
    Error_Handler();
  }
  sConfig.IC1Polarity = TIM_ICPOLARITY_RISING;
  sConfig.IC1Prescaler = TIM_ICPSC_DIV1;
  sConfig.IC1Filter = 15;
  sConfig.Commutation_Delay = 0;
  if (HAL_TIMEx_HallSensor_Init(&htim4, &sConfig) != HAL_OK)
  {
    Error_Handler();
  }
  sMasterConfig.MasterOutputTrigger = TIM_TRGO_OC2REF;
  sMasterConfig.MasterSlaveMode = TIM_MASTERSLAVEMODE_DISABLE;
  if (HAL_TIMEx_MasterConfigSynchronization(&htim4, &sMasterConfig) != HAL_OK)
  {
    Error_Handler();
  }

}

static void MX_TIM7_Init(void)
{

  TIM_MasterConfigTypeDef sMasterConfig = {0};

  htim7.Instance = TIM7;
  htim7.Init.Prescaler = 16;
  htim7.Init.CounterMode = TIM_COUNTERMODE_UP;
  htim7.Init.Period = 10000;
  htim7.Init.AutoReloadPreload = TIM_AUTORELOAD_PRELOAD_DISABLE;
  if (HAL_TIM_Base_Init(&htim7) != HAL_OK)
  {
    Error_Handler();
  }
  sMasterConfig.MasterOutputTrigger = TIM_TRGO_RESET;
  sMasterConfig.MasterSlaveMode = TIM_MASTERSLAVEMODE_DISABLE;
  if (HAL_TIMEx_MasterConfigSynchronization(&htim7, &sMasterConfig) != HAL_OK)
  {
    Error_Handler();
  }

}

static void MX_GPIO_Init(void)
{
  GPIO_InitTypeDef GPIO_InitStruct = {0};

  /* GPIO Ports Clock Enable */
  __HAL_RCC_GPIOC_CLK_ENABLE();
  __HAL_RCC_GPIOF_CLK_ENABLE();
  __HAL_RCC_GPIOA_CLK_ENABLE();
  __HAL_RCC_GPIOB_CLK_ENABLE();

  /*Configure GPIO pin Output Level */
  HAL_GPIO_WritePin(LED_GPIO_Port, LED_Pin, GPIO_PIN_RESET);

  /*Configure GPIO pin Output Level */
  HAL_GPIO_WritePin(PWR_EN_GPIO_Port, PWR_EN_Pin, GPIO_PIN_SET);

  /*Configure GPIO pin Output Level */
  HAL_GPIO_WritePin(DRV_EN_GPIO_Port, DRV_EN_Pin, GPIO_PIN_RESET);

  /*Configure GPIO pin Output Level */
  HAL_GPIO_WritePin(SPI3_NSS_GPIO_Port, SPI3_NSS_Pin, GPIO_PIN_RESET);

  /*Configure GPIO pin : PA7 */
  GPIO_InitStruct.Pin = GPIO_PIN_7;
  GPIO_InitStruct.Mode = GPIO_MODE_ANALOG;
  GPIO_InitStruct.Pull = GPIO_NOPULL;
  HAL_GPIO_Init(GPIOA, &GPIO_InitStruct);

  /*Configure GPIO pin : LED_Pin */
  GPIO_InitStruct.Pin = LED_Pin;
  GPIO_InitStruct.Mode = GPIO_MODE_OUTPUT_PP;
  GPIO_InitStruct.Pull = GPIO_NOPULL;
  GPIO_InitStruct.Speed = GPIO_SPEED_FREQ_LOW;
  HAL_GPIO_Init(LED_GPIO_Port, &GPIO_InitStruct);

  /*Configure GPIO pin : BTN_Pin */
  GPIO_InitStruct.Pin = BTN_Pin;
  GPIO_InitStruct.Mode = GPIO_MODE_INPUT;
  GPIO_InitStruct.Pull = GPIO_PULLUP;
  HAL_GPIO_Init(BTN_GPIO_Port, &GPIO_InitStruct);

  /*Configure GPIO pins : PWR_EN_Pin DRV_EN_Pin */
  GPIO_InitStruct.Pin = PWR_EN_Pin|DRV_EN_Pin;
  GPIO_InitStruct.Mode = GPIO_MODE_OUTPUT_PP;
  GPIO_InitStruct.Pull = GPIO_NOPULL;
  GPIO_InitStruct.Speed = GPIO_SPEED_FREQ_LOW;
  HAL_GPIO_Init(GPIOB, &GPIO_InitStruct);

  /*Configure GPIO pin : SPI3_NSS_Pin */
  GPIO_InitStruct.Pin = SPI3_NSS_Pin;
  GPIO_InitStruct.Mode = GPIO_MODE_OUTPUT_PP;
  GPIO_InitStruct.Pull = GPIO_NOPULL;
  GPIO_InitStruct.Speed = GPIO_SPEED_FREQ_LOW;
  HAL_GPIO_Init(SPI3_NSS_GPIO_Port, &GPIO_InitStruct);

}

void Error_Handler(void)
{
  __disable_irq();
  while (1)
  {
  }
}
